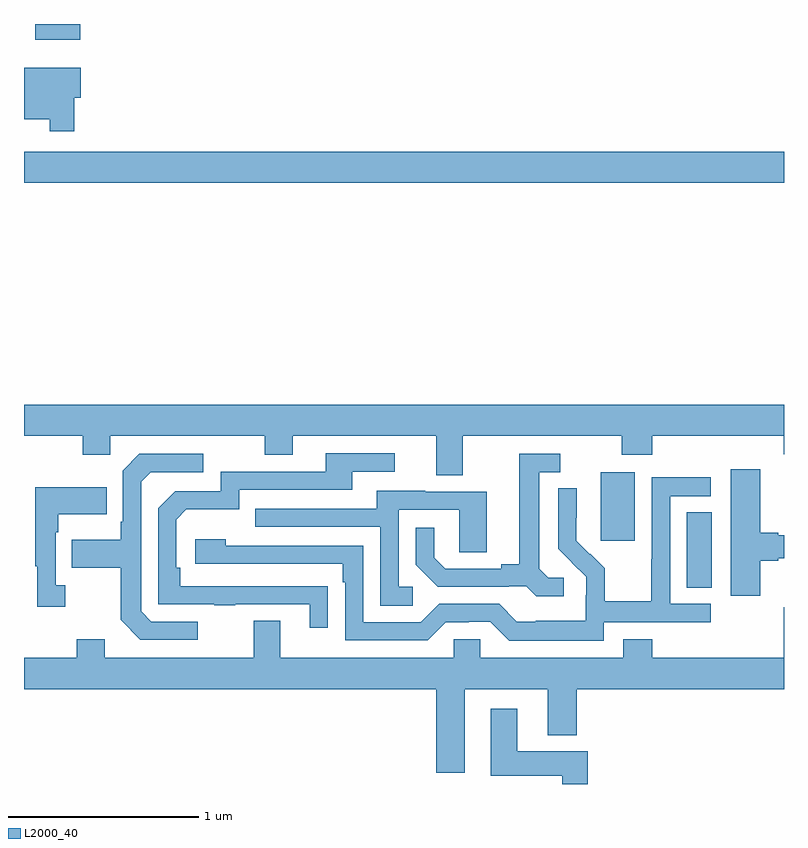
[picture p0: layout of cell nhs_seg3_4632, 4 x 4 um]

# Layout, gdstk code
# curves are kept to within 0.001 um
import gdstk
lib = gdstk.Library(unit=1e-6, precision=1e-09)
def R(c, l, rs):  # rectangles x0, y0, x1, y1
    for r in rs: c.add(gdstk.rectangle(r[:2], r[2:], *l))
def P(c, l, *ps):  # polygons
    for p in ps: c.add(gdstk.Polygon(p, *l))
L2000_40 = (2000, 40)

nhs_seg3_4632 = lib.new_cell('nhs_seg3_4632')
R(nhs_seg3_4632, L2000_40, [(362.489,717.433,362.62,717.83), (362.036,717.681,362.215,718.042), (359,719.564,363,719.728), (359.06,720.317,359.296,720.4)])
P(nhs_seg3_4632, L2000_40, [(359.264,720.011),(359.299,720.011),(359.299,720.169),(359,720.169),(359,719.9),(359.136,719.9),(359.136,719.835),(359.264,719.835)],
  [(361.309,718.232),(362.146,718.232),(362.146,718.133),(362.306,718.133),(362.306,718.232),(362.999,718.232),(362.999,718.136),(363,718.136),(363,718.396),(359,718.396),(359,718.232),(359.308,718.232),(359.308,718.133),(359.454,718.133),(359.454,718.232),(360.268,718.232),(360.268,718.133),(360.415,718.133),(360.415,718.232),(361.169,718.232),(361.169,718.024),(361.309,718.024)],
  [(360.599,717.44),(359.822,717.441),(359.822,717.538),(359.802,717.538),(359.802,717.792),(359.855,717.845),(360.132,717.845),(360.132,717.948),(360.727,717.948),(360.727,718.044),(360.952,718.044),(360.952,718.14),(360.587,718.14),(360.587,718.044),(360.036,718.044),(360.036,717.942),(359.796,717.942),(359.706,717.852),(359.706,717.345),(360.001,717.345),(360.001,717.34),(360.113,717.34),(360.113,717.345),(360.503,717.345),(360.503,717.222),(360.599,717.222)],
  [(361.84,717.486),(361.758,717.486),(361.711,717.533),(361.711,718.041),(361.822,718.041),(361.822,718.137),(361.607,718.137),(361.607,717.557),(361.511,717.557),(361.511,717.534),(361.216,717.534),(361.159,717.591),(361.159,717.748),(361.062,717.748),(361.062,717.554),(361.178,717.438),(361.55,717.438),(361.55,717.441),(361.644,717.441),(361.696,717.389),(361.84,717.389)],
  [(359.914,717.255),(359.67,717.255),(359.616,717.309),(359.616,717.99),(359.667,718.041),(359.944,718.041),(359.944,718.137),(359.607,718.137),(359.52,718.05),(359.52,717.781),(359.508,717.781),(359.508,717.685),(359.251,717.685),(359.251,717.538),(359.508,717.538),(359.508,717.265),(359.613,717.159),(359.914,717.159)],
  [(362.875,717.575),(362.971,717.575),(362.971,717.587),(363,717.587),(363,717.709),(362.971,717.709),(362.971,717.722),(362.875,717.722),(362.875,718.057),(362.72,718.057),(362.72,717.39),(362.875,717.39)],
  [(362.052,717.252),(362.614,717.252),(362.614,717.348),(362.4,717.348),(362.4,717.915),(362.614,717.915),(362.614,718.014),(362.304,718.014),(362.304,717.584),(362.302,717.584),(362.302,717.361),(362.057,717.361),(362.057,717.535),(361.98,717.612),(361.977,717.609),(361.907,717.68),(361.908,717.956),(361.812,717.956),(361.812,717.638),(361.958,717.49),(361.958,717.393),(361.956,717.393),(361.956,717.259),(361.693,717.259),(361.693,717.255),(361.593,717.255),(361.5,717.348),(361.185,717.348),(361.089,717.252),(360.786,717.252),(360.786,717.654),(360.062,717.654),(360.062,717.688),(359.901,717.688),(359.901,717.558),(360.677,717.558),(360.677,717.461),(360.69,717.461),(360.69,717.156),(361.125,717.156),(361.221,717.252),(361.34,717.252),(361.34,717.255),(361.455,717.255),(361.555,717.155),(362.052,717.155)],
  [(359.218,717.446),(359.166,717.446),(359.166,717.725),(359.179,717.725),(359.179,717.821),(359.435,717.821),(359.435,717.961),(359.058,717.961),(359.058,717.545),(359.069,717.545),(359.069,717.333),(359.218,717.333)],
  [(361.045,717.438),(360.972,717.438),(360.972,717.843),(361.29,717.843),(361.29,717.619),(361.435,717.619),(361.435,717.939),(361.111,717.939),(361.111,717.943),(360.857,717.943),(360.857,717.849),(360.217,717.849),(360.217,717.753),(360.876,717.753),(360.876,717.337),(361.045,717.337)],
  [(361.321,716.9),(361.757,716.9),(361.757,716.657),(361.91,716.657),(361.91,716.9),(363,716.9),(363,717.329),(362.999,717.329),(362.999,717.064),(362.306,717.064),(362.306,717.163),(362.153,717.163),(362.153,717.064),(361.401,717.064),(361.401,717.162),(361.263,717.162),(361.263,717.064),(360.349,717.064),(360.349,717.259),(360.209,717.259),(360.209,717.064),(359.425,717.064),(359.425,717.163),(359.278,717.163),(359.278,717.064),(359,717.064),(359,716.9),(361.169,716.9),(361.169,716.459),(361.321,716.459)],
  [(361.967,716.572),(361.597,716.572),(361.597,716.797),(361.457,716.797),(361.457,716.444),(361.832,716.444),(361.832,716.4),(361.967,716.4)])

lib.write_gds('nhs_seg3_4632.gds')
